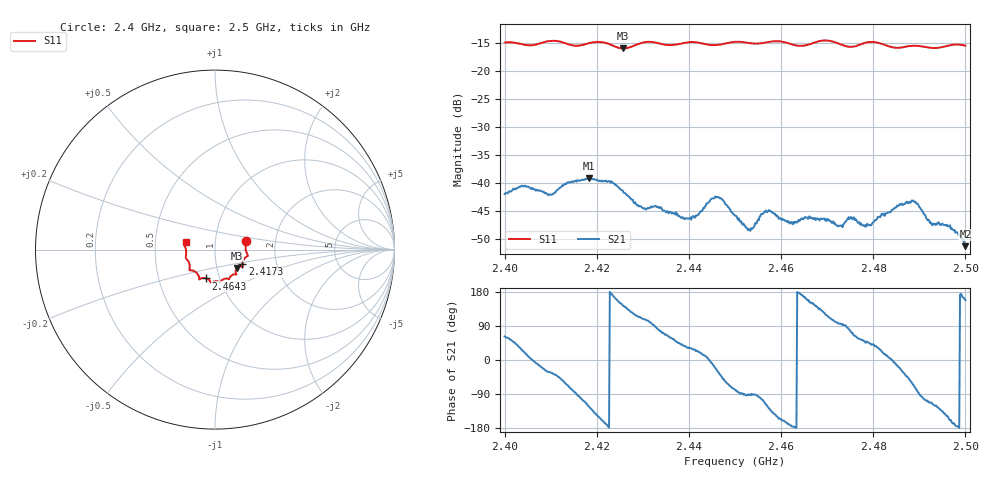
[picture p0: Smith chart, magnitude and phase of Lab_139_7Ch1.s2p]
# Hz S RI R 50
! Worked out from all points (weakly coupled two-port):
!   601 points, 2.4 GHz to 2.5 GHz, reference 50 ohm
!   highest |S21| = -39.20 dB at 2.4183 GHz (marker M1); lowest = -51.3 dB at 2.5 GHz (marker M2)
!   lowest |S11| = -15.9 dB at 2.4257 GHz (marker M3), VSWR 1.38, Z = 62.5 - j13.1 ohm
!   |S11| at or under -10 dB: start of sweep to end of sweep
!   S12 and S22 are empty: the file has one direction only
!   S11 on the Smith chart (normalised r, x): 2.4 GHz: 1.41, +0.14; 2.4173 GHz: 1.34, -0.23; 2.4643 GHz: 0.86, -0.28; 2.5 GHz: 0.72, +0.06
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2.4e9  0.1734 0.0492  0.00373 0.00702  0 0  0 0
2.404e9  0.1717 0.0251  0.00859 0.00369  0 0  0 0
2.41e9  0.1835 -0.0323  0.00652 -0.00432  0 0  0 0
2.416667e9  0.1533 -0.0747  -0.00223 -0.0104  0 0  0 0
2.417333e9  0.1525 -0.0823  -0.00362 -0.0101  0 0  0 0
2.418333e9  0.1528 -0.0913  -0.00602 -0.00917  0 0  0 0
2.425667e9  0.1227 -0.1019  -0.00683 0.00505  0 0  0 0
2.430167e9  0.1183 -0.1367  -0.00179 0.0056  0 0  0 0
2.433333e9  0.1132 -0.1371  0.00102 0.00598  0 0  0 0
2.44e9  0.0795 -0.1632  0.00402 0.00262  0 0  0 0
2.446167e9  0.0464 -0.1655  0.00655 -0.00359  0 0  0 0
2.45e9  0.0293 -0.1806  0.00102 -0.00499  0 0  0 0
2.453167e9  0.0165 -0.1773  -0.000136 -0.00376  0 0  0 0
2.457e9  -0.0133 -0.1808  -0.00286 -0.00466  0 0  0 0
2.464333e9  -0.0499 -0.1607  -0.00473 0.000611  0 0  0 0
2.466667e9  -0.0759 -0.1596  -0.0042 0.00231  0 0  0 0
2.478e9  -0.1349 -0.1158  0.00268 0.00319  0 0  0 0
2.483333e9  -0.1407 -0.0901  0.00539 0.000628  0 0  0 0
2.488833e9  -0.1623 -0.0465  0.00259 -0.00634  0 0  0 0
2.492333e9  -0.1608 -0.0218  -0.0017 -0.00402  0 0  0 0
2.4965e9  -0.1684 0.023  -0.00377 -0.0016  0 0  0 0
2.5e9  -0.1639 0.0419  -0.00251 0.00102  0 0  0 0
